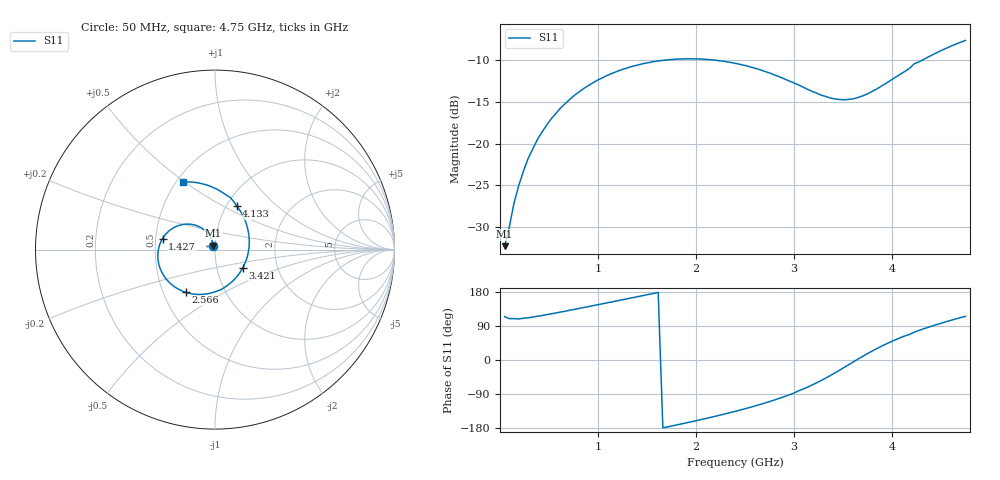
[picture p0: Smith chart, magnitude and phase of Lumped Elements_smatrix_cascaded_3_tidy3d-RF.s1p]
! Created with skrf (http://scikit-rf.org).
# Hz S RI R 50.0
!freq ReS11 ImS11
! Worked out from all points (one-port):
!   101 points, 50 MHz to 4.75 GHz, reference 50 ohm
!   lowest |S11| = -32.3 dB at 50 MHz (marker M1), VSWR 1.05, Z = 49 + j2.16 ohm
!   |S11| at or under -10 dB: start of sweep to 1.661 GHz; 2.214 GHz to 4.306 GHz (2.091 GHz wide, 64.1 % of centre)
!   S11 on the Smith chart (normalised r, x): 50 MHz: 0.98, +0.04; 1.427 GHz: 0.54, +0.07; 2.566 GHz: 0.65, -0.34; 3.421 GHz: 1.33, -0.28; 4.133 GHz: 1.11, +0.58; 4.75 GHz: 0.54, +0.49
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5e7  -0.01 0.022
9.747475e7  -0.0103 0.0297
1.449495e8  -0.0144 0.0412
1.924242e8  -0.0175 0.0528
2.873737e8  -0.0293 0.0753
3.823232e8  -0.045 0.0951
4.772727e8  -0.0637 0.1118
6.671717e8  -0.1087 0.1356
9.520202e8  -0.1866 0.1382
1.236869e9  -0.2574 0.1033
1.426768e9  -0.2925 0.0609
1.664141e9  -0.3164 -0.00518
1.85404e9  -0.3163 -0.0632
2.138889e9  -0.2826 -0.1496
2.4e9  -0.2172 -0.2122
2.566162e9  -0.1615 -0.2382
2.756061e9  -0.0883 -0.2503
2.993434e9  0.00705 -0.2326
3.230808e9  0.0991 -0.1751
3.420707e9  0.1543 -0.1031
3.610606e9  0.1854 -0.0146
3.75303e9  0.1904 0.0586
3.895455e9  0.1783 0.1324
4.132828e9  0.1209 0.2433
4.180303e9  0.1082 0.2622
4.227778e9  0.087 0.2888
4.465152e9  -0.0256 0.3528
4.75e9  -0.1779 0.3769
